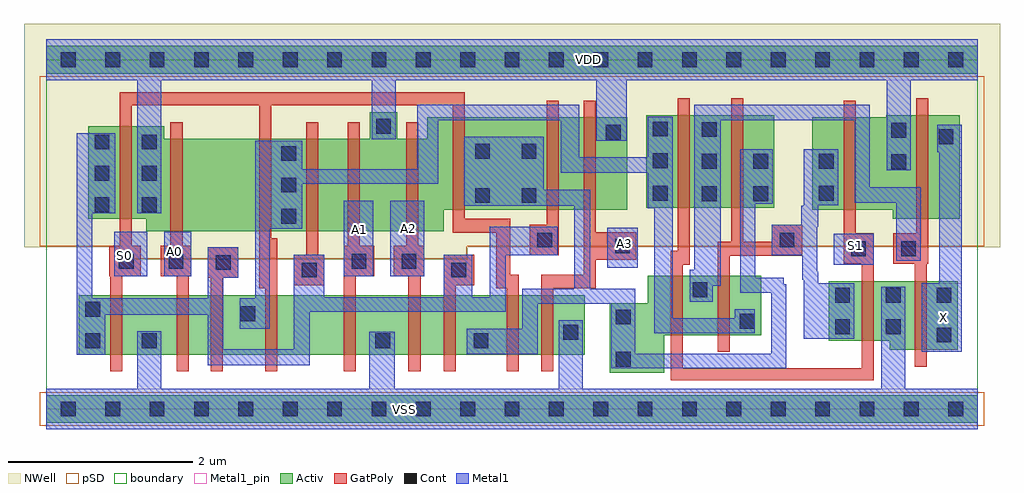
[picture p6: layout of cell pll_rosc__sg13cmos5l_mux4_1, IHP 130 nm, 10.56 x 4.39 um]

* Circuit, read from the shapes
.subckt pll_rosc__sg13cmos5l_mux4_1 A0 A1 A2 A3 S0 S1 VDD VSS X
XM1 VSS S0 n1 VSS sg13_lv_nmos w=0.64u l=0.13u
XM2 n2 A0 VSS VSS sg13_lv_nmos w=0.64u l=0.13u
XM3 n3 n1 n2 VSS sg13_lv_nmos w=0.64u l=0.13u
XM4 n4 S0 n3 VSS sg13_lv_nmos w=0.64u l=0.13u
XM5 VSS A1 n4 VSS sg13_lv_nmos w=0.64u l=0.13u
XM6 n5 A2 VSS VSS sg13_lv_nmos w=0.64u l=0.13u
XM7 n6 n1 n5 VSS sg13_lv_nmos w=0.64u l=0.13u
XM8 n7 S0 n6 VSS sg13_lv_nmos w=0.64u l=0.13u
XM9 VSS A3 n7 VSS sg13_lv_nmos w=0.64u l=0.13u
XM10 n8 S1 n6 VSS sg13_lv_nmos w=0.64u l=0.13u
XM11 n3 n9 n8 VSS sg13_lv_nmos w=0.64u l=0.13u
XM12 VSS S1 n9 VSS sg13_lv_nmos w=0.64u l=0.13u
XM13 X n8 VSS VSS sg13_lv_nmos w=0.74u l=0.13u
XM14 VDD S0 n1 VDD sg13_lv_pmos w=1u l=0.13u
XM15 n10 A0 VDD VDD sg13_lv_pmos w=1u l=0.13u
XM16 n3 S0 n10 VDD sg13_lv_pmos w=1u l=0.13u
XM17 n11 n1 n3 VDD sg13_lv_pmos w=1u l=0.13u
XM18 VDD A1 n11 VDD sg13_lv_pmos w=1u l=0.13u
XM19 n12 A2 VDD VDD sg13_lv_pmos w=1u l=0.13u
XM20 n6 S0 n12 VDD sg13_lv_pmos w=1u l=0.13u
XM21 n13 n1 n6 VDD sg13_lv_pmos w=1u l=0.13u
XM22 VDD A3 n13 VDD sg13_lv_pmos w=1u l=0.13u
XM23 n8 S1 n3 VDD sg13_lv_pmos w=1u l=0.13u
XM24 n6 n9 n8 VDD sg13_lv_pmos w=1u l=0.13u
XM25 VDD S1 n9 VDD sg13_lv_pmos w=1u l=0.13u
XM26 X n8 VDD VDD sg13_lv_pmos w=1.12u l=0.13u
.ends

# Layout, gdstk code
import gdstk
lib = gdstk.Library(unit=1e-6, precision=1e-09)
def R(c, l, rs):  # rectangles x0, y0, x1, y1
    for r in rs: c.add(gdstk.rectangle(r[:2], r[2:], *l))
def A(c, l, x, y, w, h, nx, ny, dx, dy):  # array of equal rectangles
    R(c, l, [(x+i*dx, y+j*dy, x+i*dx+w, y+j*dy+h) for i in range(nx) for j in range(ny)])
def P(c, l, *ps):  # polygons
    for p in ps: c.add(gdstk.Polygon(p, *l))
Activ = (1, 0)
GatPoly = (5, 0)
Cont = (6, 0)
Metal1 = (8, 0)
Metal1_pin = (8, 2)
pSD = (14, 0)
NWell = (31, 0)
boundary = (189, 4)

pll_rosc__sg13cmos5l_mux = lib.new_cell('pll_rosc__sg13cmos5l_mux4_1')
R(pll_rosc__sg13cmos5l_mux, Activ, [(0,-0.15,10.08,0.15), (0.355,0.59,5.825,1.23), (6.495,2.18,7.88,3.18), (0,3.63,10.08,3.93)])
P(pll_rosc__sg13cmos5l_mux, Activ, [(9.16,2.06),(9.16,2.155),(8.29,2.155),(8.29,3.155),(9.09,3.155),(9.09,3.18),(9.885,3.18),(9.885,2.06)],
  [(9.125,0.64),(9.125,0.74),(8.465,0.74),(8.465,1.38),(9.865,1.38),(9.865,0.64)],
  [(6.095,0.39),(6.095,1.145),(6.51,1.145),(6.51,1.44),(7.735,1.44),(7.735,0.8),(6.685,0.8),(6.685,0.39)],
  [(1.08,1.925),(1.08,2.06),(0.455,2.06),(0.455,3.06),(1.275,3.06),(1.275,2.925),(3.5,2.925),(3.5,3.21),(3.8,3.21),(3.8,2.925),(4.125,2.925),(4.125,3.155),(6.285,3.155),(6.285,2.155),(4.3,2.155),(4.3,1.925)])
P(pll_rosc__sg13cmos5l_mux, GatPoly, [(1.41,0.41),(1.41,1.435),(1.24,1.435),(1.24,1.765),(1.345,1.765),(1.345,3.105),(1.475,3.105),(1.475,1.765),(1.57,1.765),(1.57,1.435),(1.54,1.435),(1.54,0.41)],
  [(9.395,0.46),(9.395,1.57),(9.165,1.57),(9.165,1.9),(9.415,1.9),(9.415,3.36),(9.545,3.36),(9.545,1.57),(9.525,1.57),(9.525,0.46)],
  [(6.755,0.31),(6.755,1.71),(6.835,1.71),(6.835,3.36),(6.965,3.36),(6.965,1.56),(6.885,1.56),(6.885,0.44),(8.825,0.44),(8.825,1.57),(8.63,1.57),(8.63,3.335),(8.76,3.335),(8.76,1.9),(8.955,1.9),(8.955,0.31)],
  [(7.265,0.62),(7.265,1.81),(7.41,1.81),(7.41,3.36),(7.54,3.36),(7.54,1.81),(7.85,1.81),(7.85,1.995),(8.18,1.995),(8.18,1.66),(7.395,1.66),(7.395,0.62)],
  [(5.23,1.665),(5.23,1.995),(5.415,1.995),(5.415,3.335),(5.545,3.335),(5.545,1.665)],
  [(0.695,0.41),(0.695,1.435),(0.685,1.435),(0.685,1.765),(0.795,1.765),(0.795,3.425),(4.53,3.425),(4.53,2.06),(5.02,2.06),(5.02,1.455),(5.115,1.455),(5.115,0.41),(4.985,0.41),(4.985,1.305),(4.87,1.305),(4.87,1.91),(4.4,1.91),(4.4,3.285),(2.435,3.285),(2.435,1.85),(2.5,1.85),(2.5,0.41),(2.37,0.41),(2.37,1.305),(2.305,1.305),(2.305,3.285),(0.925,3.285),(0.925,1.765),(1.025,1.765),(1.025,1.435),(0.825,1.435),(0.825,0.41)],
  [(4.3,0.41),(4.3,1.67),(4.63,1.67),(4.63,1.34),(4.43,1.34),(4.43,0.41)],
  [(3.92,0.41),(3.92,1.435),(3.76,1.435),(3.76,1.765),(3.895,1.765),(3.895,3.105),(4.025,3.105),(4.025,1.765),(4.09,1.765),(4.09,1.435),(4.05,1.435),(4.05,0.41)],
  [(3.22,0.41),(3.22,1.765),(3.265,1.765),(3.265,3.105),(3.395,3.105),(3.395,1.765),(3.55,1.765),(3.55,1.435),(3.35,1.435),(3.35,0.41)],
  [(2.68,1.34),(2.68,1.67),(2.815,1.67),(2.815,3.105),(2.945,3.105),(2.945,1.67),(3.01,1.67),(3.01,1.34)],
  [(1.78,0.41),(1.78,1.42),(1.75,1.42),(1.75,1.75),(2.08,1.75),(2.08,1.42),(1.91,1.42),(1.91,0.41)],
  [(5.355,0.41),(5.355,1.455),(5.815,1.455),(5.815,3.335),(5.945,3.335),(5.945,1.915),(6.385,1.915),(6.385,1.615),(5.945,1.615),(5.945,1.305),(5.485,1.305),(5.485,0.41)])
A(pll_rosc__sg13cmos5l_mux, Cont, 0.16, -0.08, 0.16, 0.16, 21, 2, 0.48, 3.78)
A(pll_rosc__sg13cmos5l_mux, Cont, 8.535, 1.15, 0.16, 0.16, 3, 1, 0.55, 0)
A(pll_rosc__sg13cmos5l_mux, Cont, 2.545, 2.005, 0.16, 0.16, 1, 3, 0, 0.34)
A(pll_rosc__sg13cmos5l_mux, Cont, 0.525, 2.13, 0.16, 0.16, 1, 3, 0, 0.34)
A(pll_rosc__sg13cmos5l_mux, Cont, 1.035, 2.13, 0.16, 0.16, 1, 3, 0, 0.34)
R(pll_rosc__sg13cmos5l_mux, Cont, [(6.165,0.46,6.325,0.62), (0.425,0.66,0.585,0.82), (1.035,0.66,1.195,0.82), (3.56,0.66,3.72,0.82), (4.625,0.66,4.785,0.82), (9.635,0.72,9.795,0.88), (5.595,0.75,5.755,0.91), (8.535,0.81,8.695,0.97), (9.085,0.81,9.245,0.97), (7.505,0.87,7.665,1.03), (6.165,0.915,6.325,1.075), (2.1,0.95,2.26,1.11), (0.425,1,0.585,1.16), (6.995,1.21,7.155,1.37), (2.765,1.425,2.925,1.585), (4.385,1.425,4.545,1.585), (1.835,1.505,1.995,1.665), (0.785,1.52,0.945,1.68), (1.325,1.52,1.485,1.68), (3.305,1.52,3.465,1.68), (3.845,1.52,4.005,1.68), (8.71,1.655,8.87,1.815), (9.25,1.655,9.41,1.815), (6.155,1.685,6.315,1.845), (5.315,1.75,5.475,1.91), (7.935,1.75,8.095,1.91), (4.64,2.23,4.8,2.39), (5.145,2.23,5.305,2.39), (7.095,2.25,7.255,2.41), (7.65,2.25,7.81,2.41), (6.565,2.255,6.725,2.415), (8.36,2.255,8.52,2.415), (9.145,2.595,9.305,2.755), (7.095,2.6,7.255,2.76), (7.65,2.6,7.81,2.76), (8.36,2.6,8.52,2.76), (6.565,2.605,6.725,2.765), (4.64,2.71,4.8,2.87), (5.145,2.71,5.305,2.87), (9.655,2.865,9.815,3.025), (6.055,2.915,6.215,3.075), (9.145,2.935,9.305,3.095), (7.095,2.945,7.255,3.105), (6.565,2.95,6.725,3.11), (3.57,2.98,3.73,3.14)])
R(pll_rosc__sg13cmos5l_mux, Metal1, [(0.735,1.435,1.095,1.92), (1.275,1.435,1.57,1.92), (3.22,1.435,3.54,2.255), (3.72,1.435,4.09,2.255), (6.07,1.53,6.4,1.96), (8.52,1.56,8.955,1.895)])
P(pll_rosc__sg13cmos5l_mux, Metal1, [(8.195,0.76),(8.195,1.4),(8.18,1.4),(8.18,1.665),(7.85,1.665),(7.85,1.995),(8.17,1.995),(8.17,2.2),(8.195,2.2),(8.195,2.81),(8.57,2.81),(8.57,2.205),(8.355,2.205),(8.355,1.97),(8.34,1.97),(8.34,1.485),(8.355,1.485),(8.355,1.36),(8.745,1.36),(8.745,0.76)],
  [(0,-0.22),(0,0.22),(0.985,0.22),(0.985,0.84),(1.245,0.84),(1.245,0.22),(3.495,0.22),(3.495,0.835),(3.77,0.835),(3.77,0.22),(5.545,0.22),(5.545,0.96),(5.805,0.96),(5.805,0.22),(9.035,0.22),(9.035,1.325),(9.295,1.325),(9.295,0.22),(10.08,0.22),(10.08,-0.22)],
  [(0.985,2.12),(0.985,3.56),(0,3.56),(0,4),(10.08,4),(10.08,3.56),(9.355,3.56),(9.355,2.585),(9.095,2.585),(9.095,3.56),(6.28,3.56),(6.28,2.905),(5.95,2.905),(5.95,3.56),(3.78,3.56),(3.78,2.92),(3.52,2.92),(3.52,3.56),(1.245,3.56),(1.245,2.12)],
  [(9.475,0.62),(9.475,1.36),(9.665,1.36),(9.665,2.78),(9.64,2.78),(9.64,3.075),(9.905,3.075),(9.905,0.62)],
  [(6.965,1.16),(6.965,1.505),(7.01,1.505),(7.01,3.295),(8.91,3.295),(8.91,2.4),(9.46,2.4),(9.46,1.605),(9.2,1.605),(9.2,2.23),(8.75,2.23),(8.75,3.125),(7.3,3.125),(7.3,1.335),(7.21,1.335),(7.21,1.16)],
  [(6.115,0.44),(6.115,1.14),(5.32,1.14),(5.32,0.595),(4.55,0.595),(4.55,0.87),(5.15,0.87),(5.15,1.3),(5.715,1.3),(5.715,2.2),(4.525,2.2),(4.525,2.945),(5.385,2.945),(5.385,2.37),(5.885,2.37),(5.885,1.3),(6.375,1.3),(6.375,0.6),(7.845,0.6),(7.845,1.26),(7.51,1.26),(7.51,2.81),(7.86,2.81),(7.86,2.22),(7.67,2.22),(7.67,1.42),(7.98,1.42),(7.98,1.35),(8.005,1.35),(8.005,0.44)],
  [(6.58,0.82),(6.58,2.17),(6.51,2.17),(6.51,2.555),(5.57,2.555),(5.57,3.125),(4.24,3.125),(4.24,2.435),(2.77,2.435),(2.77,1.95),(2.42,1.95),(2.42,0.87),(2.095,0.87),(2.095,1.2),(2.26,1.2),(2.26,2.905),(2.77,2.905),(2.77,2.595),(4.015,2.595),(4.015,3.295),(5.77,3.295),(5.77,2.725),(6.51,2.725),(6.51,3.16),(6.78,3.16),(6.78,0.98),(7.45,0.98),(7.45,1.08),(7.665,1.08),(7.665,0.82)],
  [(1.75,0.475),(1.75,1.02),(0.64,1.02),(0.64,0.59),(0.33,0.59),(0.33,2.985),(0.745,2.985),(0.745,2.12),(0.5,2.12),(0.5,1.2),(1.75,1.2),(1.75,1.75),(2.08,1.75),(2.08,1.42),(1.915,1.42),(1.915,0.645),(2.68,0.645),(2.68,1.67),(3.01,1.67),(3.01,1.21),(4.3,1.21),(4.3,1.67),(4.61,1.67),(4.61,1.21),(4.8,1.21),(4.8,1.97),(5.535,1.97),(5.535,1.665),(4.97,1.665),(4.97,1.05),(2.85,1.05),(2.85,0.475)])
R(pll_rosc__sg13cmos5l_mux, Metal1_pin, [(0,-0.22,10.08,0.22), (9.475,0.62,9.905,1.36), (0.735,1.435,1.095,1.92), (1.275,1.435,1.57,1.92), (3.22,1.435,3.54,2.255), (3.72,1.435,4.09,2.255), (6.07,1.53,6.4,1.96), (8.52,1.56,8.955,1.895), (0,3.56,10.08,4)])
R(pll_rosc__sg13cmos5l_mux, pSD, [(-0.07,-0.18,10.15,0.18)])
P(pll_rosc__sg13cmos5l_mux, pSD, [(0.79,1.625),(0.79,1.76),(-0.07,1.76),(-0.07,3.6),(10.15,3.6),(10.15,1.76),(4.55,1.76),(4.55,1.625)])
P(pll_rosc__sg13cmos5l_mux, NWell, [(0.74,1.615),(0.74,1.75),(-0.24,1.75),(-0.24,4.17),(10.32,4.17),(10.32,1.75),(4.56,1.75),(4.56,1.615)])
R(pll_rosc__sg13cmos5l_mux, boundary, [(0,0,10.08,3.78)])
pll_rosc__sg13cmos5l_mux.add(gdstk.Label('X', (9.705,0.99), layer=8, texttype=25))
pll_rosc__sg13cmos5l_mux.add(gdstk.Label('A1', (3.395,1.94), layer=8, texttype=25))
pll_rosc__sg13cmos5l_mux.add(gdstk.Label('A2', (3.92,1.95), layer=8, texttype=25))
pll_rosc__sg13cmos5l_mux.add(gdstk.Label('S0', (0.845,1.665), layer=8, texttype=25))
pll_rosc__sg13cmos5l_mux.add(gdstk.Label('VDD', (5.87,3.78), layer=8, texttype=25))
pll_rosc__sg13cmos5l_mux.add(gdstk.Label('VSS', (3.875,0), layer=8, texttype=25))
pll_rosc__sg13cmos5l_mux.add(gdstk.Label('S1', (8.755,1.77), layer=8, texttype=25))
pll_rosc__sg13cmos5l_mux.add(gdstk.Label('A0', (1.385,1.705), layer=8, texttype=25))
pll_rosc__sg13cmos5l_mux.add(gdstk.Label('A3', (6.255,1.795), layer=8, texttype=25))

lib.write_gds('pll_rosc__sg13cmos5l_mux4_1.gds')
